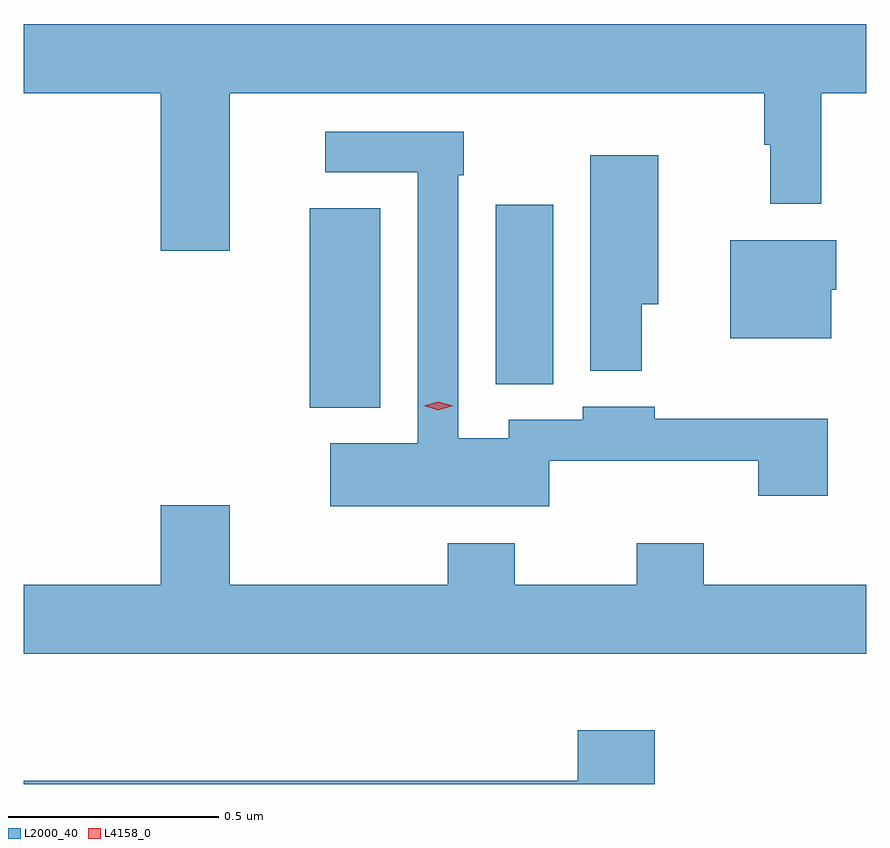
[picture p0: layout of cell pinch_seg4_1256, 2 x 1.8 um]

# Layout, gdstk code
import gdstk
lib = gdstk.Library(unit=1e-6, precision=1e-09)
def R(c, l, rs):  # rectangles x0, y0, x1, y1
    for r in rs: c.add(gdstk.rectangle(r[:2], r[2:], *l))
def P(c, l, *ps):  # polygons
    for p in ps: c.add(gdstk.Polygon(p, *l))
L2000_40 = (2000, 40)
L4158_0 = (4158, 0)

pinch_seg4_1256 = lib.new_cell('pinch_seg4_1256')
R(pinch_seg4_1256, L2000_40, [(369.158,825.377,369.325,825.851), (369.599,825.433,369.736,825.859)])
P(pinch_seg4_1256, L2000_40, [(368.968,826.124),(370.237,826.124),(370.237,826.001),(370.252,826.001),(370.252,825.861),(370.373,825.861),(370.373,826.124),(370.479,826.124),(370.479,826.288),(368.479,826.288),(368.479,826.124),(368.804,826.124),(368.804,825.75),(368.968,825.75)],
  [(369.726,825.251),(370.223,825.251),(370.223,825.168),(370.388,825.168),(370.388,825.35),(369.977,825.35),(369.977,825.379),(369.806,825.379),(369.806,825.348),(369.63,825.348),(369.63,825.304),(369.51,825.304),(369.51,825.929),(369.523,825.929),(369.523,826.032),(369.195,826.032),(369.195,825.936),(369.414,825.936),(369.414,825.292),(369.207,825.292),(369.207,825.143),(369.726,825.143)],
  [(369.946,825.623),(369.985,825.623),(369.985,825.976),(369.824,825.976),(369.824,825.464),(369.946,825.464)],
  [(370.396,825.657),(370.408,825.657),(370.408,825.775),(370.157,825.775),(370.157,825.542),(370.396,825.542)],
  [(370.479,824.956),(370.094,824.956),(370.094,825.055),(369.934,825.055),(369.934,824.956),(369.645,824.956),(369.645,825.055),(369.485,825.055),(369.485,824.956),(368.968,824.956),(368.968,825.145),(368.804,825.145),(368.804,824.956),(368.479,824.956),(368.479,824.792),(370.479,824.792)],
  [(369.977,824.611),(369.794,824.611),(369.794,824.491),(368.479,824.491),(368.479,824.483),(369.977,824.483)])
P(pinch_seg4_1256, L4158_0, [(369.463,825.371),(369.428,825.381),(369.428,825.381),(369.428,825.381),(369.463,825.391),(369.498,825.381),(369.498,825.381),(369.498,825.381)])

lib.write_gds('pinch_seg4_1256.gds')
